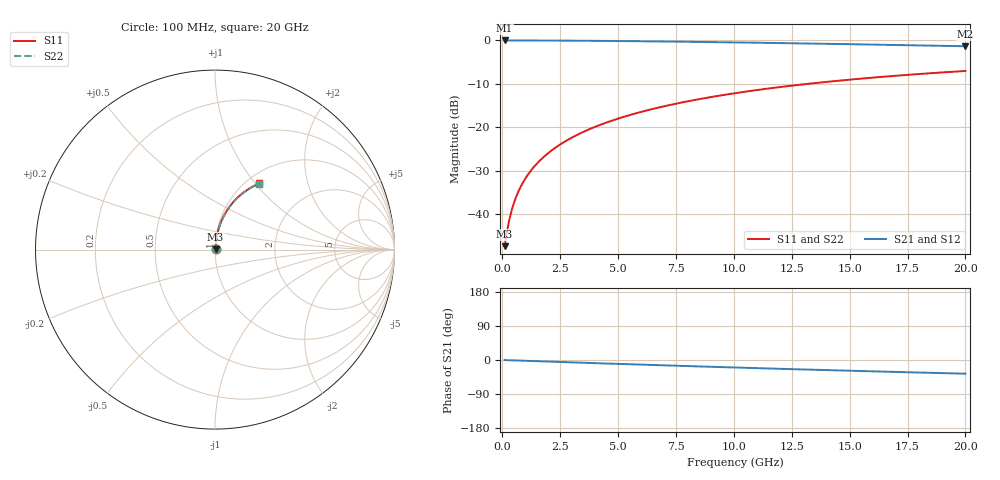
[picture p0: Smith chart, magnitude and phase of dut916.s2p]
! Touchstone file exported from HFSS 2024.1.0
!  File:  C:/UserFiles/LocalFiles/RDL_TSV_Batchsim/temp_RDL_top_916_1779936392.aedt
!  Generated:  10:49:32 AM May 28, 2026
!  Design:  RDL_top
!  Project:  temp_RDL_top_916_1779936392
!  Setup:  Setup1
!  Solution:  Sweep
! Variables:
!  dtsv = 10.80580581um
!  hbump = 3um
!  htsv = 87.09um
!  ldown = 100um
!  lrdl = 409.13um
!  p = 40
!  p1 = 58.89um
!  rhole = 1um
!  t = 450um
!  tdown = 3.915915916um
!  trdl = 3.76um
!  wdown = 15.38538539um
!  wrdl = 11.73um
# GHz S MA R 50.000000
! Terminal data exported
! Port[1] = Box2_T1
! Port[2] = Box2_T2
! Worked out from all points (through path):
!   200 points, 100 MHz to 20 GHz, reference 50 ohm
!   highest |S21| = -0.03 dB at 100 MHz (marker M1); lowest = -1.4 dB at 20 GHz (marker M2)
!   group delay of S21, straight-line fit = 5.02 ps
!   lowest |S11| = -47.4 dB at 100 MHz (marker M3), VSWR 1.01, Z = 50.3 + j0.261 ohm
!   |S11| at or under -10 dB: start of sweep to 13.24 GHz
!   |S22| runs from -47.4 to -7.1 dB; largest |S21 - S12| = 2.5e-15
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0.1  0.004253 37.5  0.9966 -0.2  0.9966 -0.2  0.004253 37.5
! Gamma 0 0 0 0
! Port Impedance 50 0 50 0
0.2  0.006203 56.4  0.9966 -0.4  0.9966 -0.4  0.006203 56.4
0.3  0.008489 65.5  0.9965 -0.6  0.9965 -0.6  0.008489 65.5
0.4  0.01089 70.5  0.9964 -0.8  0.9964 -0.8  0.01089 70.5
0.5  0.01332 73.7  0.9963 -1.1  0.9963 -1.1  0.01332 73.7
0.6  0.01578 75.8  0.9962 -1.3  0.9962 -1.3  0.01578 75.8
0.8  0.02072 78.4  0.9959 -1.7  0.9959 -1.7  0.02072 78.4
1.1  0.02817 80.5  0.9955 -2.3  0.9955 -2.3  0.02817 80.5
1.5  0.03814 81.7  0.9948 -3.1  0.9948 -3.1  0.03814 81.7
1.8  0.04564 82.1  0.9942 -3.8  0.9942 -3.8  0.04564 82.1
2.1  0.05314 82.3  0.9935 -4.4  0.9935 -4.4  0.05314 82.3
2.7  0.06815 82.1  0.9917 -5.6  0.9917 -5.6  0.06814 82.1
3.5  0.08812 81.5  0.9888 -7.2  0.9888 -7.2  0.08812 81.5
4.2  0.1055 80.7  0.9857 -8.7  0.9857 -8.7  0.1055 80.7
5  0.1254 79.6  0.9817 -10.3  0.9817 -10.3  0.1253 79.6
5.9  0.1475 78.3  0.9765 -12.0  0.9765 -12.0  0.1475 78.3
6.8  0.1694 76.9  0.9708 -13.8  0.9708 -13.8  0.1694 76.9
8.3  0.2053 74.5  0.9603 -16.6  0.9603 -16.6  0.2053 74.5
10.1  0.2472 71.6  0.9462 -19.9  0.9462 -19.9  0.2472 71.6
13.4  0.3196 66.2  0.9176 -25.7  0.9176 -25.7  0.3195 66.2
16.7  0.3853 61.0  0.8867 -31.1  0.8867 -31.1  0.3852 61.0
20  0.4438 56.1  0.8547 -36.1  0.8547 -36.1  0.4437 56.1
